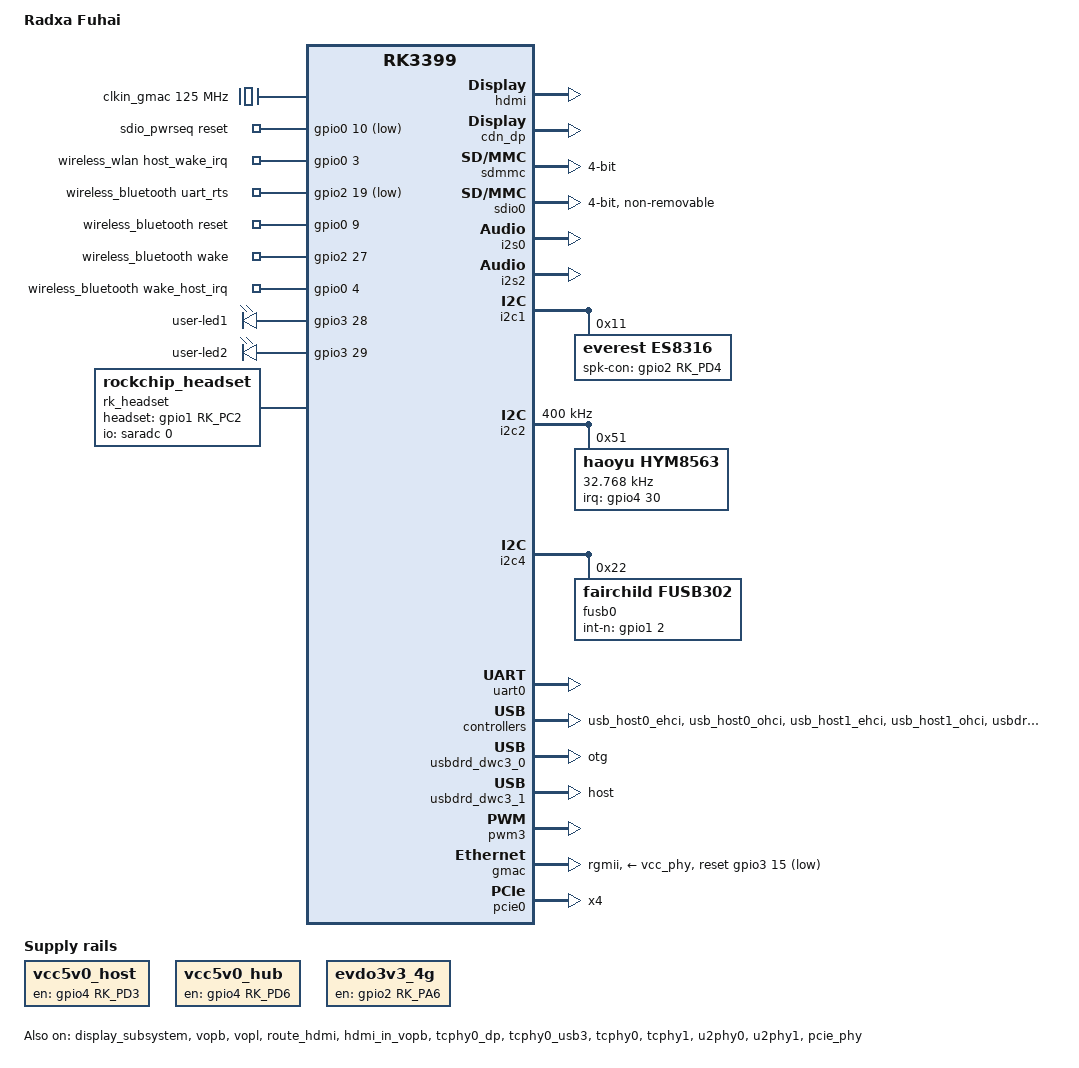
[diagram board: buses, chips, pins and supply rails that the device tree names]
// SPDX-License-Identifier: (GPL-2.0+ OR MIT)
/*
 * Copyright (c) 2018 Fuzhou Rockchip Electronics Co., Ltd
 * Copyright (c) 2021 Radxa Limited.
 */

/dts-v1/;

#include "rk3399-rock-pi-4-core.dtsi"

/ {

	model = "Radxa Fuhai";
	compatible = "radxa,fuhai","rockchip,rk3399";
	/delete-node/ chosen;

	vcc5v0_host: vcc5v0-host-regulator {
		compatible = "regulator-fixed";
		enable-active-high;
		gpio = <&gpio4 RK_PD3 GPIO_ACTIVE_HIGH>;
		pinctrl-names = "default";
		pinctrl-0 = <&host_vbus_drv>;
		regulator-name = "vcc5v0_host";
		regulator-always-on;
	};

	vcc5v0_hub: vcc5v0-hub-regulator {
		compatible = "regulator-fixed";
		enable-active-high;
		gpio = <&gpio4 RK_PD6 GPIO_ACTIVE_HIGH>;
		pinctrl-names = "default";
		pinctrl-0 = <&usb_hub_en>;
		regulator-name = "vcc5v0-hub";
		regulator-always-on;
	};

	evdo3v3_4g: evdo3v3-4g-regulator {
		compatible = "regulator-fixed";
		enable-active-high;
		gpio = <&gpio2 RK_PA6 GPIO_ACTIVE_HIGH>;
		pinctrl-names = "default";
		pinctrl-0 = <&evdo_en>;
		regulator-name = "evdo3v3-4g";
		regulator-always-on;
	};

	clkin_gmac: external-gmac-clock {
		compatible = "fixed-clock";
		clock-frequency = <125000000>;
		clock-output-names = "clkin_gmac";
		#clock-cells = <0>;
	};

	es8316_sound: es8316-sound {
		compatible = "simple-audio-card";
		simple-audio-card,format = "i2s";
		simple-audio-card,name = "rockchip,es8316-codec";
		simple-audio-card,mclk-fs = <256>;
		simple-audio-card,widgets =
			"Microphone", "Mic Jack",
			"Headphone", "Headphone Jack";
		simple-audio-card,routing =
			"Mic Jack", "MICBIAS1",
			"IN1P", "Mic Jack",
			"Headphone Jack", "HPOL",
			"Headphone Jack", "HPOR";
		simple-audio-card,cpu {
			sound-dai = <&i2s0>;
		};
		simple-audio-card,codec {
			sound-dai = <&es8316>;
		};
	};

	hdmi_sound: hdmi-sound {
		status = "disabled";
		compatible = "simple-audio-card";
		simple-audio-card,format = "i2s";
		simple-audio-card,mclk-fs = <256>;
		simple-audio-card,name = "rockchip,hdmi";

		simple-audio-card,cpu {
			sound-dai = <&i2s2>;
		};
		simple-audio-card,codec {
			sound-dai = <&dw_hdmi_audio>;
		};
	};

	dw_hdmi_audio: dw-hdmi-audio {
		status = "disabled";
		compatible = "rockchip,dw-hdmi-audio";
		#sound-dai-cells = <0>;
	};

	hdmi_codec: hdmi-codec {
		compatible = "simple-audio-card";
		simple-audio-card,format = "i2s";
		simple-audio-card,mclk-fs = <256>;
		simple-audio-card,name = "rockchiphdmi";

		simple-audio-card,cpu {
			sound-dai = <&i2s2>;
		};

		simple-audio-card,codec {
			sound-dai = <&hdmi>;
		};
	};

	spdif_sound: spdif-sound {
		status = "disabled";
		compatible = "simple-audio-card";
		simple-audio-card,name = "ROCKCHIP,SPDIF";
		simple-audio-card,cpu {
			sound-dai = <&spdif>;
		};
		simple-audio-card,codec {
			sound-dai = <&spdif_out>;
		};
	};

	spdif_out: spdif-out {
		status = "disabled";
		compatible = "linux,spdif-dit";
		#sound-dai-cells = <0>;
	};

	sdio_pwrseq: sdio-pwrseq {
		compatible = "mmc-pwrseq-simple";
		clocks = <&rk818 1>;
		clock-names = "ext_clock";
		pinctrl-names = "default";
		pinctrl-0 = <&wifi_enable_h>;

		/*
		 * On the module itself this is one of these (depending
		 * on the actual card populated):
		 * - SDIO_RESET_L_WL_REG_ON
		 * - PDN (power down when low)
		 */
		reset-gpios = <&gpio0 10 GPIO_ACTIVE_LOW>;
	};

	wireless_wlan: wireless-wlan {
		compatible = "wlan-platdata";
		rockchip,grf = <&grf>;
		wifi_chip_type = "ap6256";
		sdio_vref = <1800>;
		WIFI,host_wake_irq = <&gpio0 3 GPIO_ACTIVE_HIGH>;
		status = "okay";
	};

	wireless_bluetooth: wireless-bluetooth {
		compatible = "bluetooth-platdata";
		clocks = <&rk818 1>;
		clock-names = "ext_clock";
		/* wifi-bt-power-toggle; */
		uart_rts_gpios = <&gpio2 19 GPIO_ACTIVE_LOW>;
		pinctrl-names = "default", "rts_gpio";
		pinctrl-0 = <&uart0_rts>;
		pinctrl-1 = <&uart0_gpios>;
		/* BT,power_gpio  = <&gpio3 19 GPIO_ACTIVE_HIGH>; */
		BT,reset_gpio    = <&gpio0 9 GPIO_ACTIVE_HIGH>;
		BT,wake_gpio     = <&gpio2 27 GPIO_ACTIVE_HIGH>;
		BT,wake_host_irq = <&gpio0 4 GPIO_ACTIVE_HIGH>;
		status = "okay";
	};

	gpio_leds: gpio-leds {
		compatible = "gpio-leds";
		status = "okay";

		user-led1 {
			gpios = <&gpio3 28 GPIO_ACTIVE_HIGH>;
			linux,default-trigger = "heartbeat";
			default-state = "on";
		};

		user-led2 {
			gpios = <&gpio3 29 GPIO_ACTIVE_HIGH>;
			linux,default-trigger = "heartbeat";
			default-state = "on";
		};
	};

	rk_headset: rk-headset {
		compatible = "rockchip_headset";
		headset_gpio = <&gpio1 RK_PC2 GPIO_ACTIVE_HIGH>;
		pinctrl-names = "default";
		pinctrl-0 = <&hp_det>;
		io-channels = <&saradc 0>;
	};
};

&display_subsystem {
	status = "okay";
};

// HDMI is bound to vopb:
&vopb {
	status = "okay";
	assigned-clocks = <&cru DCLK_VOP0_DIV>;
	assigned-clock-parents = <&cru PLL_VPLL>;
};
&vopl {
	status = "okay";
	assigned-clocks = <&cru DCLK_VOP1_DIV>;
	assigned-clock-parents = <&cru PLL_CPLL>;
};

// HDMI is bound to vopl：
/*
&vopb {
	status = "okay";
	assigned-clocks = <&cru DCLK_VOP0_DIV>;
	assigned-clock-parents = <&cru PLL_CPLL>;
};
&vopl {
	status = "okay";
	assigned-clocks = <&cru DCLK_VOP1_DIV>;
	assigned-clock-parents = <&cru PLL_VPLL>;
};
*/

&vopb_mmu {
	status = "okay";
};

&vopl_mmu {
	status = "okay";
};

&route_hdmi {
	status = "okay";
	connect = <&vopb_out_hdmi>;
};

&hdmi {
	pinctrl-names = "default";
	pinctrl-0 = <&hdmi_i2c_xfer>, <&hdmi_cec>;
	status = "okay";
	rockchip,phy-table =
		<74250000 0x8009 0x0004 0x0272>,
		<165000000 0x802b 0x0004 0x0209>,
		<297000000 0x8039 0x0005 0x028d>,
		<594000000 0x8039 0x0000 0x019d>,
		<000000000 0x0000 0x0000 0x0000>;
};

&dp_in_vopl {
	status = "disabled";
};

&dp_in_vopb {
	status = "disabled";
};

&hdmi_in_vopl {
	status = "disabled";
};

&hdmi_in_vopb {
	status = "okay";
};

&tcphy0_dp {
	status = "okay";
};

&tcphy0_usb3 {
	status = "okay";
};

// Display Port ower USB-C
&cdn_dp {
	status = "okay";
	extcon = <&fusb0>;
};

//&dp_sound {
//	status = "disabled";
//};

&sdmmc {
	clock-frequency = <100000000>;
	clock-freq-min-max = <100000 100000000>;
	supports-sd;
	bus-width = <4>;
	cap-mmc-highspeed;
	cap-sd-highspeed;
	disable-wp;
	num-slots = <1>;
	//sd-uhs-sdr104;
	vqmmc-supply = <&vcc_sd>;
	pinctrl-names = "default";
	pinctrl-0 = <&sdmmc_clk &sdmmc_cmd &sdmmc_cd &sdmmc_bus4>;
	card-detect-delay = <800>;
	status = "okay";
};

&sdio0 {
	clock-frequency = <100000000>;
	clock-freq-min-max = <200000 100000000>;
	supports-sdio;
	bus-width = <4>;
	disable-wp;
	cap-sd-highspeed;
	cap-sdio-irq;
	keep-power-in-suspend;
	mmc-pwrseq = <&sdio_pwrseq>;
	non-removable;
	num-slots = <1>;
	pinctrl-names = "default";
	pinctrl-0 = <&sdio0_bus4 &sdio0_cmd &sdio0_clk>;
	sd-uhs-sdr104;
	status = "okay";
};

&i2s0 {
	status = "okay";
	rockchip,i2s-broken-burst-len;
	rockchip,playback-channels = <8>;
	rockchip,capture-channels = <8>;
	#sound-dai-cells = <0>;
};

&i2s2 {
	#sound-dai-cells = <0>;
};

&spdif {
	pinctrl-0 = <&spdif_bus_1>;
	status = "disabled";
	#sound-dai-cells = <0>;
};

&i2c1 {
	status = "okay";
	i2c-scl-rising-time-ns = <300>;
	i2c-scl-falling-time-ns = <15>;

	es8316: es8316@11 {
		#sound-dai-cells = <0>;
		compatible = "everest,es8316";
		reg = <0x11>;
		clocks = <&cru SCLK_I2S_8CH_OUT>;
		clock-names = "mclk";
		spk-con-gpio = <&gpio2 RK_PD4 GPIO_ACTIVE_HIGH>;
		pinctrl-names = "default";
		pinctrl-0 = <&i2s_8ch_mclk>;
		pinctrl-1 = <&es8316_mute>;
	};
};

&i2c2 {
	status = "okay";
	clock-frequency = <400000>;

	hym8563: hym8563@51 {
		compatible = "haoyu,hym8563";
		status = "okay";
		reg = <0x51>;
		#clock-cells = <0>;
		clock-frequency = <32768>;
		clock-output-names = "hym8563";
		pinctrl-names = "default";
		pinctrl-0 = <&hym8563_int>;
		interrupt-parent = <&gpio4>;
		interrupts = <30 IRQ_TYPE_LEVEL_LOW>;
	};
};

&i2c4 {
	status = "okay";
	fusb0: fusb30x@22 {
		compatible = "fairchild,fusb302";
		reg = <0x22>;
		pinctrl-names = "default";
		pinctrl-0 = <&fusb0_int>;

		int-n-gpios = <&gpio1 2 GPIO_ACTIVE_HIGH>;
		status = "okay";
	};
};

&tcphy0 {
	extcon = <&fusb0>;
	status = "okay";
};

&tcphy1 {
	status = "okay";
};

&u2phy0 {
	status = "okay";
	extcon = <&fusb0>;

	u2phy0_otg: otg-port {
		status = "okay";
	};

	u2phy0_host: host-port {
		phy-supply = <&vcc5v0_host>;
		status = "okay";
	};
};

&u2phy1 {
	status = "okay";

	u2phy1_otg: otg-port {
		status = "okay";
	};

	u2phy1_host: host-port {
		phy-supply = <&vcc5v0_host>;
		status = "okay";
	};
};

&uart0 {
	pinctrl-names = "default";
	pinctrl-0 = <&uart0_xfer &uart0_cts>;
	status = "okay";
};

&uart2 {
	status = "disabled";
};

&uart4 {
	status = "disabled";
};

&usb_host0_ehci {
	status = "okay";
};

&usb_host0_ohci {
	status = "okay";
};

&usb_host1_ehci {
	status = "okay";
};

&usb_host1_ohci {
	status = "okay";
};

&usbdrd3_0 {
	status = "okay";
};

&usbdrd_dwc3_0 {
	dr_mode = "otg";
	extcon = <&fusb0>;
	status = "okay";
};

&usbdrd3_1 {
	status = "okay";
};

&usbdrd_dwc3_1 {
	dr_mode = "host";
	status = "okay";
};

&pwm3 {
	status = "okay";

	interrupts = <GIC_SPI 61 IRQ_TYPE_LEVEL_HIGH 0>;
	compatible = "rockchip,remotectl-pwm";
	remote_pwm_id = <3>;
	handle_cpu_id = <1>;
	remote_support_psci = <1>;

	ir_key1 {
		rockchip,usercode = <0x4040>;
		rockchip,key_table =
			<0xf2	KEY_REPLY>,
			<0xba	KEY_BACK>,
			<0xf4	KEY_UP>,
			<0xf1	KEY_DOWN>,
			<0xef	KEY_LEFT>,
			<0xee	KEY_RIGHT>,
			<0xbd	KEY_HOME>,
			<0xea	KEY_VOLUMEUP>,
			<0xe3	KEY_VOLUMEDOWN>,
			<0xe2	KEY_SEARCH>,
			<0xb2	KEY_POWER>,
			<0xbc	KEY_MUTE>,
			<0xec	KEY_MENU>,
			<0xbf	0x190>,
			<0xe0	0x191>,
			<0xe1	0x192>,
			<0xe9	183>,
			<0xe6	248>,
			<0xe8	185>,
			<0xe7	186>,
			<0xf0	388>,
			<0xbe	0x175>;
	};

	ir_key2 {
		rockchip,usercode = <0xff00>;
		rockchip,key_table =
			<0xf9	KEY_HOME>,
			<0xbf	KEY_BACK>,
			<0xfb	KEY_MENU>,
			<0xaa	KEY_REPLY>,
			<0xb9	KEY_UP>,
			<0xe9	KEY_DOWN>,
			<0xb8	KEY_LEFT>,
			<0xea	KEY_RIGHT>,
			<0xeb	KEY_VOLUMEDOWN>,
			<0xef	KEY_VOLUMEUP>,
			<0xf7	KEY_MUTE>,
			<0xe7	KEY_POWER>,
			<0xfc	KEY_POWER>,
			<0xa9	KEY_VOLUMEDOWN>,
			<0xa8	KEY_VOLUMEDOWN>,
			<0xe0	KEY_VOLUMEDOWN>,
			<0xa5	KEY_VOLUMEDOWN>,
			<0xab	183>,
			<0xb7	388>,
			<0xe8	388>,
			<0xf8	184>,
			<0xaf	185>,
			<0xed	KEY_VOLUMEDOWN>,
			<0xee	186>,
			<0xb3	KEY_VOLUMEDOWN>,
			<0xf1	KEY_VOLUMEDOWN>,
			<0xf2	KEY_VOLUMEDOWN>,
			<0xf3	KEY_SEARCH>,
			<0xb4	KEY_VOLUMEDOWN>,
			<0xbe	KEY_SEARCH>;
	};

	ir_key3 {
		rockchip,usercode = <0x1dcc>;
		rockchip,key_table =
			<0xee	KEY_REPLY>,
			<0xf0	KEY_BACK>,
			<0xf8	KEY_UP>,
			<0xbb	KEY_DOWN>,
			<0xef	KEY_LEFT>,
			<0xed	KEY_RIGHT>,
			<0xfc	KEY_HOME>,
			<0xf1	KEY_VOLUMEUP>,
			<0xfd	KEY_VOLUMEDOWN>,
			<0xb7	KEY_SEARCH>,
			<0xff	KEY_POWER>,
			<0xf3	KEY_MUTE>,
			<0xbf	KEY_MENU>,
			<0xf9	0x191>,
			<0xf5	0x192>,
			<0xb3	388>,
			<0xbe	KEY_1>,
			<0xba	KEY_2>,
			<0xb2	KEY_3>,
			<0xbd	KEY_4>,
			<0xf9	KEY_5>,
			<0xb1	KEY_6>,
			<0xfc	KEY_7>,
			<0xf8	KEY_8>,
			<0xb0	KEY_9>,
			<0xb6	KEY_0>,
			<0xb5	KEY_BACKSPACE>;
	};
};

&gmac {
	phy-supply = <&vcc_phy>;
	phy-mode = "rgmii";
	clock_in_out = "input";
	snps,reset-gpio = <&gpio3 15 GPIO_ACTIVE_LOW>;
	snps,reset-active-low;
	snps,reset-delays-us = <0 10000 50000>;
	assigned-clocks = <&cru SCLK_RMII_SRC>;
	assigned-clock-parents = <&clkin_gmac>;
	pinctrl-names = "default", "sleep";
	pinctrl-0 = <&rgmii_pins>;
	pinctrl-1 = <&rgmii_sleep_pins>;
	tx_delay = <0x28>;
	rx_delay = <0x11>;
	status = "okay";
};

&i2s2 {
	status = "okay";
};

&pcie_phy {
	status = "okay";
};

&pcie0 {
	ep-gpios = <&gpio0 RK_PB4 GPIO_ACTIVE_HIGH>;
	num-lanes = <4>;
	pinctrl-names = "default";
	pinctrl-0 = <&pcie_clkreqnb_cpm>;
	status = "okay";
};

&pinctrl {

	sdio0 {
		sdio0_bus1: sdio0-bus1 {
			rockchip,pins =
				<2 20 RK_FUNC_1 &pcfg_pull_up_20ma>;
		};

		sdio0_bus4: sdio0-bus4 {
			rockchip,pins =
				<2 20 RK_FUNC_1 &pcfg_pull_up_20ma>,
				<2 21 RK_FUNC_1 &pcfg_pull_up_20ma>,
				<2 22 RK_FUNC_1 &pcfg_pull_up_20ma>,
				<2 23 RK_FUNC_1 &pcfg_pull_up_20ma>;
		};

		sdio0_cmd: sdio0-cmd {
			rockchip,pins =
				<2 24 RK_FUNC_1 &pcfg_pull_up_20ma>;
		};

		sdio0_clk: sdio0-clk {
			rockchip,pins =
				<2 25 RK_FUNC_1 &pcfg_pull_none_20ma>;
		};
	};

	hym8563 {
		hym8563_int: hym8563-int {
			rockchip,pins =
				<4 RK_PA2 0 &pcfg_pull_up>;
		};
	};

	sdmmc {
		sdmmc_bus1: sdmmc-bus1 {
			rockchip,pins =
				<4 8 RK_FUNC_1 &pcfg_pull_up_8ma>;
		};

		sdmmc_bus4: sdmmc-bus4 {
			rockchip,pins =
				<4 8 RK_FUNC_1 &pcfg_pull_up_8ma>,
				<4 9 RK_FUNC_1 &pcfg_pull_up_8ma>,
				<4 10 RK_FUNC_1 &pcfg_pull_up_8ma>,
				<4 11 RK_FUNC_1 &pcfg_pull_up_8ma>;
		};

		sdmmc_clk: sdmmc-clk {
			rockchip,pins =
				<4 12 RK_FUNC_1 &pcfg_pull_none_18ma>;
		};

		sdmmc_cmd: sdmmc-cmd {
			rockchip,pins =
				<4 13 RK_FUNC_1 &pcfg_pull_up_8ma>;
		};
	};

	sdio-pwrseq {
		wifi_enable_h: wifi-enable-h {
			rockchip,pins =
				<0 10 RK_FUNC_GPIO &pcfg_pull_none>;
		};
	};

	wireless-bluetooth {
		uart0_gpios: uart0-gpios {
			rockchip,pins =
				<2 19 RK_FUNC_GPIO &pcfg_pull_none>;
		};
	};

	usb2 {
		host_vbus_drv: host-vbus-drv {
			rockchip,pins =
				<4 RK_PD3 RK_FUNC_GPIO &pcfg_pull_none>;
		};
		usb_hub_en: usb-hub-en {
			rockchip,pins =
				<4 RK_PD6 RK_FUNC_GPIO &pcfg_pull_none>;
		};
	};

	gmac {
		rgmii_sleep_pins: rgmii-sleep-pins {
			rockchip,pins =
				<3 15 RK_FUNC_GPIO &pcfg_output_low>;
		};
	};

	i2s0 {
		i2s0_8ch_bus: i2s0-8ch-bus {
			rockchip,pins =
				<3 24 RK_FUNC_1 &pcfg_pull_none>,
				<3 25 RK_FUNC_1 &pcfg_pull_none>,
				<3 26 RK_FUNC_1 &pcfg_pull_none>,
				<3 27 RK_FUNC_1 &pcfg_pull_none>,
				<3 31 RK_FUNC_1 &pcfg_pull_none>;
		};

		i2s_8ch_mclk: i2s-8ch-mclk {
			rockchip,pins = <4 0 RK_FUNC_1 &pcfg_pull_none>;
		};
	};

	8316 {
		es8316_mute: es8316-mute{
			rockchip,pins =
				<2 RK_PD4 RK_FUNC_GPIO &pcfg_pull_none>;
		};
	};

	fusb30x {
		fusb0_int: fusb0-int {
			rockchip,pins =
				<1 2 RK_FUNC_GPIO &pcfg_pull_up>;
		};
	};

	headphone {
		hp_det: hp-det {
			rockchip,pins =
				<1 RK_PC2 RK_FUNC_GPIO &pcfg_pull_up>;
		};
	};

	evdo {
		evdo_en: evdo-en{
			rockchip,pins =
				<2 RK_PA6 RK_FUNC_GPIO &pcfg_pull_none>;
		};
	};

	lcd-panel {
		lcd_en_dsi: lcd-en-dsi {
			rockchip,pins = <2 11 RK_FUNC_GPIO &pcfg_pull_up>;
		};

		lcd_dsi_panel_reset: lcd-dsi-panel-reset {
			rockchip,pins = <2 3 RK_FUNC_GPIO &pcfg_pull_up>;
		};

		lcd_en_edp: lcd-en-edp{
			rockchip,pins = <3 30 RK_FUNC_GPIO &pcfg_pull_up>;
		};
	};
};


